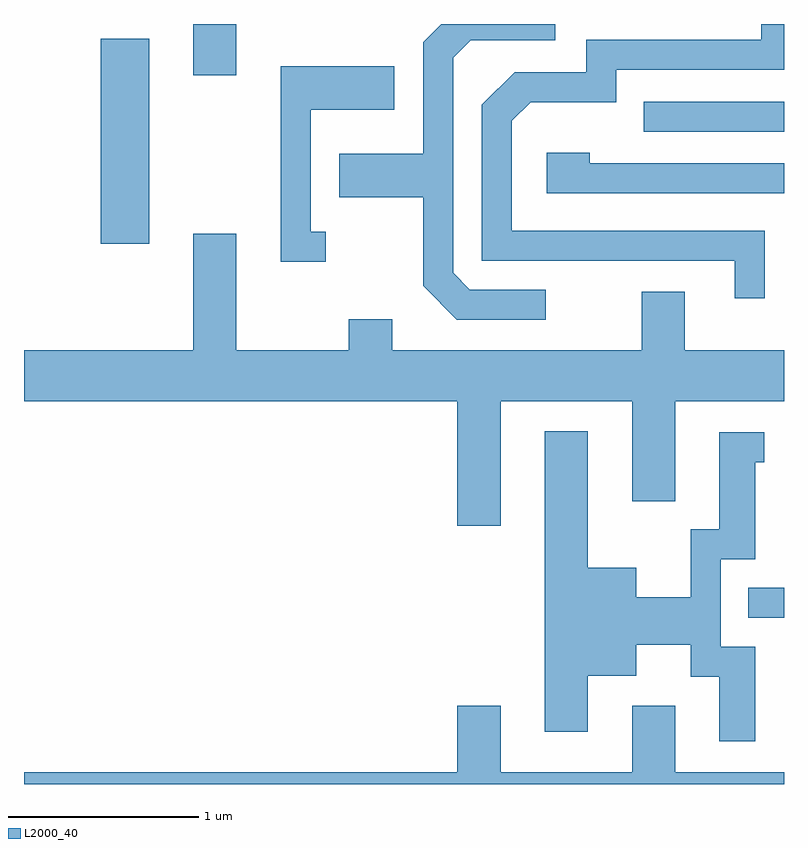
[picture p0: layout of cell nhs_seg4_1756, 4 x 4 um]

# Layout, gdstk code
import gdstk
lib = gdstk.Library(unit=1e-6, precision=1e-09)
def R(c, l, rs):  # rectangles x0, y0, x1, y1
    for r in rs: c.add(gdstk.rectangle(r[:2], r[2:], *l))
def P(c, l, *ps):  # polygons
    for p in ps: c.add(gdstk.Polygon(p, *l))
L2000_40 = (2000, 40)

nhs_seg4_1756 = lib.new_cell('nhs_seg4_1756')
R(nhs_seg4_1756, L2000_40, [(239.423,1366.856,239.611,1367.014), (236.016,1368.826,236.269,1369.904), (238.873,1369.416,239.611,1369.574), (236.501,1369.711,236.729,1369.982)])
P(nhs_seg4_1756, L2000_40, [(238.358,1368.584),(237.957,1368.584),(237.869,1368.672),(237.869,1369.804),(237.962,1369.896),(238.408,1369.896),(238.408,1369.982),(237.807,1369.982),(237.711,1369.887),(237.711,1369.299),(237.271,1369.299),(237.271,1369.071),(237.711,1369.071),(237.711,1368.604),(237.889,1368.426),(238.358,1368.426)],
  [(239.509,1368.894),(238.179,1368.894),(238.179,1369.474),(238.277,1369.571),(238.729,1369.571),(238.729,1369.741),(239.611,1369.741),(239.611,1369.982),(239.491,1369.982),(239.491,1369.899),(238.571,1369.899),(238.571,1369.729),(238.194,1369.729),(238.021,1369.557),(238.021,1368.736),(239.351,1368.736),(239.351,1368.538),(239.509,1368.538)],
  [(237.198,1368.889),(237.119,1368.889),(237.119,1369.531),(237.559,1369.531),(237.559,1369.759),(236.961,1369.759),(236.961,1368.731),(237.198,1368.731)],
  [(239.611,1369.249),(238.589,1369.249),(238.589,1369.304),(238.361,1369.304),(238.361,1369.091),(239.611,1369.091)],
  [(238.119,1367.996),(238.811,1367.996),(238.811,1367.471),(239.039,1367.471),(239.039,1367.996),(239.611,1367.996),(239.611,1368.264),(239.089,1368.264),(239.089,1368.574),(238.861,1368.574),(238.861,1368.264),(237.549,1368.264),(237.549,1368.429),(237.321,1368.429),(237.321,1368.264),(236.729,1368.264),(236.729,1368.879),(236.501,1368.879),(236.501,1368.264),(235.611,1368.264),(235.611,1367.996),(237.891,1367.996),(237.891,1367.341),(238.119,1367.341)],
  [(239.459,1366.704),(239.279,1366.704),(239.279,1367.166),(239.459,1367.166),(239.459,1367.676),(239.508,1367.676),(239.508,1367.834),(239.271,1367.834),(239.271,1367.324),(239.121,1367.324),(239.121,1366.964),(238.834,1366.964),(238.834,1367.119),(238.579,1367.119),(238.579,1367.839),(238.351,1367.839),(238.351,1366.256),(238.579,1366.256),(238.579,1366.551),(238.834,1366.551),(238.834,1366.716),(239.121,1366.716),(239.121,1366.546),(239.271,1366.546),(239.271,1366.206),(239.459,1366.206)],
  [(239.611,1366.044),(239.039,1366.044),(239.039,1366.394),(238.811,1366.394),(238.811,1366.044),(238.119,1366.044),(238.119,1366.394),(237.891,1366.394),(237.891,1366.044),(235.611,1366.044),(235.611,1365.982),(239.611,1365.982)])

lib.write_gds('nhs_seg4_1756.gds')
